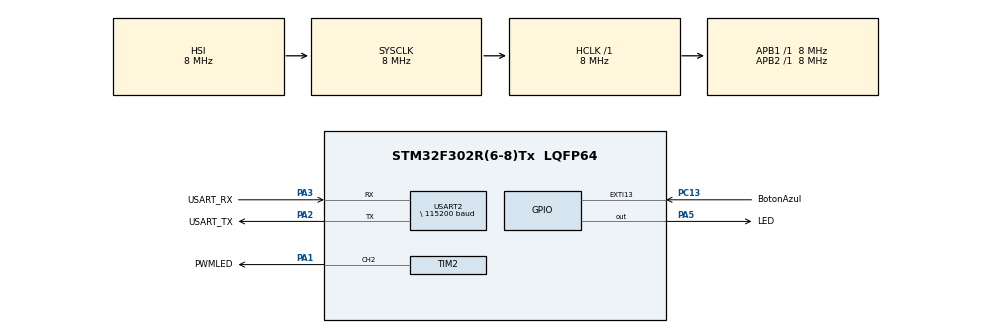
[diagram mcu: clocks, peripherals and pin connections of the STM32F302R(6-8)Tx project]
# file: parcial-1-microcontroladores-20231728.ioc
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Mcu.Family=STM32F3
Mcu.Name=STM32F302R(6-8)Tx
Mcu.Package=LQFP64
NVIC.EXTI15_10_IRQn=true\:0\:0\:false\:false\:true\:true\:true\:true
NVIC.PriorityGroup=NVIC_PRIORITYGROUP_0
NVIC.TIM6_DAC_IRQn=true\:0\:0\:false\:false\:true\:true\:true\:true
NVIC.USART2_IRQn=true\:0\:0\:false\:false\:true\:true\:true\:true
PA1.GPIO_Label=PWMLED
PA1.Signal=S_TIM2_CH2
PA13.GPIO_Label=TMS
PA13.Mode=Serial_Wire
PA13.Signal=SYS_JTMS-SWDIO
PA14.GPIO_Label=TCK
PA14.Mode=Serial_Wire
PA14.Signal=SYS_JTCK-SWCLK
PA2.GPIO_Label=USART_TX
PA2.GPIO_Mode=GPIO_MODE_AF_PP
PA2.GPIO_PuPd=GPIO_NOPULL
PA2.GPIO_Speed=GPIO_SPEED_FREQ_LOW
PA2.Mode=Asynchronous
PA2.Signal=USART2_TX
PA3.GPIO_Label=USART_RX
PA3.GPIO_Mode=GPIO_MODE_AF_PP
PA3.GPIO_PuPd=GPIO_NOPULL
PA3.GPIO_Speed=GPIO_SPEED_FREQ_LOW
PA3.Mode=Asynchronous
PA3.Signal=USART2_RX
PA5.GPIO_Label=LED
PA5.Signal=GPIO_Output
PB3.GPIO_Label=SWO
PB3.Mode=Trace_Asynchronous_SW
PB3.Signal=SYS_JTDO-TRACESWO
PC13.GPIO_Label=BotonAzul
PC13.GPIO_ModeDefaultEXTI=GPIO_MODE_IT_RISING_FALLING
PC13.Signal=GPXTI13
PC14\ -\ OSC32_IN.Mode=LSE-External-Oscillator
PC14\ -\ OSC32_IN.Signal=RCC_OSC32_IN
PC15\ -\ OSC32_OUT.Mode=LSE-External-Oscillator
PC15\ -\ OSC32_OUT.Signal=RCC_OSC32_OUT
PF0-OSC_IN.Mode=HSE-External-Clock-Source
PF0-OSC_IN.Signal=RCC_OSC_IN
PF1-OSC_OUT.Signal=RCC_OSC_OUT
ProjectManager.HeapSize=0x200
ProjectManager.StackSize=0x400
ProjectManager.TargetToolchain=CMake
RCC.AHBFreq_Value=8000000
RCC.APB1Freq_Value=8000000
RCC.APB1TimFreq_Value=8000000
RCC.APB2Freq_Value=8000000
RCC.APB2TimFreq_Value=8000000
RCC.CortexFreq_Value=8000000
RCC.HCLKFreq_Value=8000000
RCC.HSE_VALUE=8000000
RCC.HSI_VALUE=8000000
RCC.PLLM=8
RCC.PLLMUL=RCC_PLL_MUL16
RCC.PLLN=336
RCC.PLLP=RCC_PLLP_DIV4
RCC.PLLQ=7
RCC.RCC_PLLsource_Clock_Source_FROM_HSE=RCC_HSE_PREDIV_DIV2
RCC.SYSCLKFreq_VALUE=8000000
RCC.USBFreq_Value=64000000
SH.S_TIM2_CH2.0=TIM2_CH2,PWM Generation2 CH2
TIM2.Channel-PWM\ Generation2\ CH2=TIM_CHANNEL_2
TIM2.Period=1000-1
TIM2.Prescaler=8-1
TIM2.Pulse-PWM\ Generation2\ CH2=250
TIM6.Period=99
TIM6.Prescaler=79
USART2.BaudRate=\ 115200
USART2.VirtualMode-Asynchronous=VM_ASYNC
VP_TIM2_VS_ClockSourceINT.Mode=Internal
VP_TIM6_VS_ClockSourceINT.Mode=Enable_Timer
board=NUCLEO-F302R8

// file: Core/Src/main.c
/* USER CODE BEGIN Header */
/**
  ******************************************************************************
  * @file           : main.c
  * @brief          : Main program body
  ******************************************************************************
  * @attention
  *
  * Copyright (c) 2026 STMicroelectronics.
  * All rights reserved.
  *
  * This software is licensed under terms that can be found in the LICENSE file
  * in the root directory of this software component.
  * If no LICENSE file comes with this software, it is provided AS-IS.
  *
  ******************************************************************************
  */
  // LINK DE VIDEO: https://youtu.be/MsYkq0kdA_k
/* USER CODE END Header */
#include "main.h"
#include <stdio.h>
#include <string.h>

/* USER CODE BEGIN PD */
#define UART_RX_BUFFER_SIZE 256U
#define UART_RX_BUFFER_MASK (UART_RX_BUFFER_SIZE - 1U)
#define UART_LINE_MAX_LENGTH 63U
#define UART_TX_BUFFER_SIZE 512U
#define UART_TX_BUFFER_MASK (UART_TX_BUFFER_SIZE - 1U)

/* USER CODE END PD */

TIM_HandleTypeDef htim2;
TIM_HandleTypeDef htim6;

UART_HandleTypeDef huart2;

/* USER CODE BEGIN PV */

/* Estado del PWM y duty manual. */
uint16_t dutyCycle = 10U;
uint16_t dutyMin = 10U;
uint16_t dutyMax = 90U;
static uint32_t fixedPulse = 0U;
static uint16_t manualDutyPercent = 0U;
static uint8_t rampIncreasing = 1U;
static uint8_t rampMode = 0U;
static uint8_t paused = 0U;

/* Reloj de aplicación y plazos de rampa/LED. */
static volatile uint32_t appTickMs = 0U;
static uint32_t lastDutyUpdateMs = 0U;
static uint32_t lastAutoLedToggleMs = 0U;
static uint32_t lastPauseLedToggleMs = 0U;

/* Antirrebote, duración y estadísticas del pulsador. */
static volatile uint8_t buttonEdgePending = 0U;
static GPIO_PinState buttonStableState = GPIO_PIN_SET;
static GPIO_PinState buttonCandidateState = GPIO_PIN_SET;
static uint8_t buttonCandidateActive = 0U;
static uint32_t buttonCandidateSinceMs = 0U;
static uint32_t buttonPressStartMs = 0U;
static uint8_t buttonLongPressHandled = 0U;
static uint32_t acceptedShortPresses = 0U;
static uint32_t acceptedLongPresses = 0U;

/* Recepción UART, búfer circular y armado de líneas. */
static uint8_t uartRxByte = 0U;
static uint8_t uartRxBuffer[UART_RX_BUFFER_SIZE];
static volatile uint16_t uartRxHead = 0U;
static volatile uint16_t uartRxTail = 0U;
static volatile uint8_t uartRxOverflowPending = 0U;
static volatile uint32_t uartRxOverflowCount = 0U;
static volatile uint32_t uartRxErrorCount = 0U;
static char uartLineBuffer[UART_LINE_MAX_LENGTH + 1U];
static char uartLastLine[UART_LINE_MAX_LENGTH + 1U];
static uint8_t uartLineLength = 0U;
static uint8_t uartLineDiscarding = 0U;
static uint8_t uartSkipLfAfterCr = 0U;
static uint32_t uartCompletedLineCount = 0U;
static uint32_t uartLineOverflowCount = 0U;

/* Frecuencia actual y control de telemetría. */
static uint16_t pwmFrequencyHz = 1000U;
static uint8_t telemetryEnabled = 0U;
static uint32_t lastTelemetryMs = 0U;

/* Cola UART de transmisión no bloqueante y errores TX. */
static char uartTxBuffer[UART_TX_BUFFER_SIZE];
static volatile uint16_t uartTxHead = 0U;
static volatile uint16_t uartTxTail = 0U;
static volatile uint8_t uartTxBusy = 0U;
static uint8_t uartTxByteInFlight = 0U;
static volatile uint32_t uartTxOverflowCount = 0U;
static volatile uint32_t uartTxErrorCount = 0U;

/* USER CODE END PV */

void SystemClock_Config(void);
static void MX_GPIO_Init(void);
static void MX_USART2_UART_Init(void);
static void MX_TIM2_Init(void);
static void MX_TIM6_Init(void);
/* USER CODE BEGIN PFP */
static void Button_Process(uint32_t now);
static uint8_t Button_TakeEdgePending(void);
static uint32_t PWM_DutyToPulse(uint16_t dutyPercent);
static void PWM_ApplyCurrentMode(void);
static void Button_HandleShortPress(uint32_t now);
static void Button_HandleLongPress(uint32_t now);
static uint32_t PWM_GetCounterClockHz(void);
static uint8_t PWM_SetFrequency(uint16_t frequencyHz);
static void Application_SetPaused(uint8_t shouldPause, uint32_t now);
static uint8_t UART_ParseUnsigned(const char *text, uint32_t *value);
static uint8_t UART_TakeRxByte(uint8_t *byte);
static void UART_ProcessRx(void);
static uint8_t UART_QueueText(const char *text);
static void UART_TxStartNext(void);
static void UART_ProcessCommand(char *line);
static void UART_QueueStatus(const char *prefix);
static void UART_ProcessTelemetry(uint32_t now);

/* USER CODE END PFP */

/* USER CODE BEGIN 0 */
/* Convierte un duty porcentual al valor de comparación de TIM2. */
static uint32_t PWM_DutyToPulse(uint16_t dutyPercent)
{
  return ((htim2.Init.Period + 1U) * dutyPercent) / 100U;
}

/* Calcula el reloj del contador de TIM2 desde PCLK1 y el prescaler real. */
static uint32_t PWM_GetCounterClockHz(void)
{
  RCC_ClkInitTypeDef clockConfig = {0};
  uint32_t flashLatency = 0U;
  HAL_RCC_GetClockConfig(&clockConfig, &flashLatency);

  uint32_t timerClockHz = HAL_RCC_GetPCLK1Freq();
  if (clockConfig.APB1CLKDivider != RCC_HCLK_DIV1)
  {
    timerClockHz *= 2U;
  }

  return timerClockHz / (htim2.Init.Prescaler + 1U);
}

/* Cambia la frecuencia PWM sin modificar la base de tiempo de TIM6. */
static uint8_t PWM_SetFrequency(uint16_t frequencyHz)
{
  uint32_t counterClockHz = PWM_GetCounterClockHz();
  if ((frequencyHz == 0U) || ((counterClockHz % frequencyHz) != 0U))
  {
    return 0U;
  }

  uint32_t periodCounts = counterClockHz / frequencyHz;
  if (periodCounts == 0U)
  {
    return 0U;
  }

  uint32_t newPeriod = periodCounts - 1U;
  __HAL_TIM_SET_COUNTER(&htim2, 0U);
  htim2.Init.Period = newPeriod;
  __HAL_TIM_SET_AUTORELOAD(&htim2, newPeriod);
  fixedPulse = PWM_DutyToPulse(manualDutyPercent);
  pwmFrequencyHz = frequencyHz;
  PWM_ApplyCurrentMode();
  return 1U;
}

/* Extrae un byte pendiente del búfer circular UART en contexto de main. */
static uint8_t UART_TakeRxByte(uint8_t *byte)
{
  uint16_t tail = uartRxTail;
  if (tail == uartRxHead)
  {
    return 0U;
  }

  *byte = uartRxBuffer[tail];
  uartRxTail = (tail + 1U) & UART_RX_BUFFER_MASK;
  return 1U;
}

/* Inicia la transmisión del siguiente byte pendiente sin esperar a que termine. */
static void UART_TxStartNext(void)
{
  uint32_t interruptMask = __get_PRIMASK();
  __disable_irq();

  if ((uartTxBusy != 0U) || (uartTxTail == uartTxHead))
  {
    __set_PRIMASK(interruptMask);
    return;
  }

  uartTxByteInFlight = (uint8_t)uartTxBuffer[uartTxTail];
  uartTxTail = (uartTxTail + 1U) & UART_TX_BUFFER_MASK;
  uartTxBusy = 1U;
  __set_PRIMASK(interruptMask);

  if (HAL_UART_Transmit_IT(&huart2, &uartTxByteInFlight, 1U) != HAL_OK)
  {
    interruptMask = __get_PRIMASK();
    __disable_irq();
    uartTxTail = (uartTxTail - 1U) & UART_TX_BUFFER_MASK;
    uartTxBusy = 0U;
    uartTxErrorCount++;
    __set_PRIMASK(interruptMask);
  }
}

/* Agrega una cadena completa a la cola TX o registra si no hay espacio. */
static uint8_t UART_QueueText(const char *text)
{
  size_t length = strlen(text);
  uint32_t interruptMask = __get_PRIMASK();
  __disable_irq();

  uint16_t used = (uartTxHead - uartTxTail) & UART_TX_BUFFER_MASK;
  uint16_t freeSpace = UART_TX_BUFFER_MASK - used;
  if (length > freeSpace)
  {
    uartTxOverflowCount++;
    __set_PRIMASK(interruptMask);
    return 0U;
  }

  uint16_t head = uartTxHead;
  for (size_t index = 0U; index < length; index++)
  {
    uartTxBuffer[head] = text[index];
    head = (head + 1U) & UART_TX_BUFFER_MASK;
  }
  uartTxHead = head;
  __set_PRIMASK(interruptMask);

  UART_TxStartNext();
  return 1U;
}

/* Formatea y encola el estado actual para STATUS o STREAM. */
static void UART_QueueStatus(const char *prefix)
{
  const char *mode = (paused != 0U) ? "PAUSA" :
                     (rampMode != 0U) ? "AUTO" : "MANUAL";
  uint32_t appliedDuty = (paused != 0U) ? 0U :
                         (rampMode != 0U) ? dutyCycle : manualDutyPercent;
  uint32_t errorCount = uartRxOverflowCount + uartRxErrorCount +
                        uartLineOverflowCount + uartTxOverflowCount +
                        uartTxErrorCount;
  char response[192];
  int responseLength = snprintf(response, sizeof(response),
                                "%s MODE=%s FREQ=%u DUTY=%lu MANUAL=%u "
                                "UPTIME_MS=%lu SHORT=%lu LONG=%lu ERR=%lu\r\n",
                                prefix, mode, (unsigned int)pwmFrequencyHz,
                                (unsigned long)appliedDuty,
                                (unsigned int)manualDutyPercent,
                                (unsigned long)appTickMs,
                                (unsigned long)acceptedShortPresses,
                                (unsigned long)acceptedLongPresses,
                                (unsigned long)errorCount);
  if ((responseLength > 0) && ((size_t)responseLength < sizeof(response)))
  {
    UART_QueueText(response);
  }
  else
  {
    uartTxErrorCount++;
  }
}

/* Convierte dígitos decimales estrictos a entero y detecta desbordamiento. */
static uint8_t UART_ParseUnsigned(const char *text, uint32_t *value)
{
  if (*text == '\0')
  {
    return 0U;
  }

  uint32_t parsed = 0U;
  while (*text != '\0')
  {
    if ((*text < '0') || (*text > '9'))
    {
      return 0U;
    }

    uint32_t digit = (uint32_t)(*text - '0');
    if (parsed > ((UINT32_MAX - digit) / 10U))
    {
      return 2U;
    }
    parsed = (parsed * 10U) + digit;
    text++;
  }

  *value = parsed;
  return 1U;
}

/* Valida y ejecuta una orden completa recibida por USART2. */
static void UART_ProcessCommand(char *line)
{
  char *command = line;
  while (*command == ' ')
  {
    command++;
  }

  size_t length = strlen(command);
  while ((length > 0U) && (command[length - 1U] == ' '))
  {
    command[--length] = '\0';
  }

  if (length == 0U)
  {
    return;
  }

  char *argument = command;
  while ((*argument != '\0') && (*argument != ' '))
  {
    argument++;
  }
  if (*argument != '\0')
  {
    *argument++ = '\0';
    while (*argument == ' ')
    {
      argument++;
    }
  }

  if ((strcmp(command, "HELP") == 0) ||
      (strcmp(command, "STATUS") == 0))
  {
    if (*argument != '\0')
    {
      UART_QueueText("ERR ARG\r\n");
      return;
    }

    if (strcmp(command, "HELP") == 0)
    {
      UART_QueueText("OK HELP\r\nHELP\r\nSTATUS\r\nDUTY n\r\nFREQ n\r\n"
                     "PAUSE\r\nRESUME\r\n");
      return;
    }

    UART_QueueStatus("OK");
    return;
  }

  if (strcmp(command, "MODE") == 0)
  {
    if (paused != 0U)
    {
      UART_QueueText("ERR STATE\r\n");
      return;
    }
    if (strcmp(argument, "MANUAL") == 0)
    {
      rampMode = 0U;
      lastDutyUpdateMs = appTickMs;
      HAL_GPIO_WritePin(LED_GPIO_Port, LED_Pin, GPIO_PIN_SET);
      PWM_ApplyCurrentMode();
      UART_QueueText("OK\r\n");
      return;
    }
    if (strcmp(argument, "AUTO") == 0)
    {
      rampMode = 1U;
      dutyCycle = dutyMin;
      rampIncreasing = 1U;
      lastDutyUpdateMs = appTickMs;
      lastAutoLedToggleMs = appTickMs;
      HAL_GPIO_WritePin(LED_GPIO_Port, LED_Pin, GPIO_PIN_SET);
      PWM_ApplyCurrentMode();
      UART_QueueText("OK\r\n");
      return;
    }
    UART_QueueText("ERR ARG\r\n");
    return;
  }

  if ((strcmp(command, "DUTY") == 0) || (strcmp(command, "FREQ") == 0))
  {
    if (paused != 0U)
    {
      UART_QueueText("ERR STATE\r\n");
      return;
    }
    if ((strcmp(command, "DUTY") == 0) && (rampMode != 0U))
    {
      UART_QueueText("ERR STATE\r\n");
      return;
    }

    uint32_t value = 0U;
    uint8_t parseResult = UART_ParseUnsigned(argument, &value);
    if (parseResult == 0U)
    {
      UART_QueueText("ERR ARG\r\n");
      return;
    }
    if (parseResult == 2U)
    {
      UART_QueueText("ERR RANGE\r\n");
      return;
    }

    if (strcmp(command, "DUTY") == 0)
    {
      if (value > 100U)
      {
        UART_QueueText("ERR RANGE\r\n");
        return;
      }

      manualDutyPercent = (uint16_t)value;
      fixedPulse = PWM_DutyToPulse(manualDutyPercent);
      PWM_ApplyCurrentMode();
      UART_QueueText("OK\r\n");
      return;
    }

    if ((value != 500U) && (value != 1000U) && (value != 2000U))
    {
      UART_QueueText("ERR RANGE\r\n");
      return;
    }
    if (PWM_SetFrequency((uint16_t)value) == 0U)
    {
      UART_QueueText("ERR RANGE\r\n");
      return;
    }
    UART_QueueText("OK\r\n");
    return;
  }

  if ((strcmp(command, "PAUSE") == 0) ||
      (strcmp(command, "RESUME") == 0))
  {
    if (*argument != '\0')
    {
      UART_QueueText("ERR ARG\r\n");
      return;
    }

    if (strcmp(command, "PAUSE") == 0)
    {
      Application_SetPaused(1U, appTickMs);
      UART_QueueText("OK\r\n");
      return;
    }

    if (paused == 0U)
    {
      UART_QueueText("ERR STATE\r\n");
      return;
    }
    Application_SetPaused(0U, appTickMs);
    UART_QueueText("OK\r\n");
    return;
  }

  if (strcmp(command, "STREAM") == 0)
  {
    if (strcmp(argument, "ON") == 0)
    {
      telemetryEnabled = 1U;
      lastTelemetryMs = appTickMs;
      UART_QueueText("OK\r\n");
      return;
    }
    if (strcmp(argument, "OFF") == 0)
    {
      telemetryEnabled = 0U;
      UART_QueueText("OK\r\n");
      return;
    }
    UART_QueueText("ERR ARG\r\n");
    return;
  }

  UART_QueueText("ERR COMMAND\r\n");
}

/* Emite estado cada segundo; difiere la salida mientras se escribe una línea. */
static void UART_ProcessTelemetry(uint32_t now)
{
  if (telemetryEnabled == 0U)
  {
    return;
  }

  if ((uartLineLength != 0U) || (uartLineDiscarding != 0U))
  {
    lastTelemetryMs = now;
    return;
  }

  if ((uint32_t)(now - lastTelemetryMs) >= 1000U)
  {
    lastTelemetryMs = now;
    UART_QueueStatus("STREAM");
  }
}

/* Consume bytes RX, arma líneas CR/LF y entrega líneas completas al parser. */
static void UART_ProcessRx(void)
{
  uint32_t interruptMask = __get_PRIMASK();
  __disable_irq();
  uint8_t overflowPending = uartRxOverflowPending;
  uartRxOverflowPending = 0U;
  __set_PRIMASK(interruptMask);

  if (overflowPending != 0U)
  {
    uartLineLength = 0U;
    uartLineDiscarding = 1U;
    uartRxErrorCount++;
  }

  uint8_t byte;
  while (UART_TakeRxByte(&byte) != 0U)
  {
    if ((uartSkipLfAfterCr != 0U) && (byte == '\n'))
    {
      uartSkipLfAfterCr = 0U;
      continue;
    }
    uartSkipLfAfterCr = 0U;

    if ((byte == '\r') || (byte == '\n'))
    {
      if (byte == '\r')
      {
        uartSkipLfAfterCr = 1U;
      }

      if (uartLineDiscarding != 0U)
      {
        uartLineDiscarding = 0U;
        UART_QueueText("ERR OVERFLOW\r\n");
      }
      else
      {
        uartLineBuffer[uartLineLength] = '\0';
        for (uint8_t index = 0U; index <= uartLineLength; index++)
        {
          uartLastLine[index] = uartLineBuffer[index];
        }
        uartCompletedLineCount++;
        UART_ProcessCommand(uartLineBuffer);
      }
      uartLineLength = 0U;
      continue;
    }

    if (uartLineDiscarding == 0U)
    {
      if (uartLineLength < UART_LINE_MAX_LENGTH)
      {
        uartLineBuffer[uartLineLength++] = (char)byte;
      }
      else
      {
        uartLineLength = 0U;
        uartLineDiscarding = 1U;
        uartLineOverflowCount++;
      }
    }
  }
}

/* Toma y limpia de forma atómica el aviso de flanco creado por la ISR. */
static uint8_t Button_TakeEdgePending(void)
{
  uint32_t interruptMask = __get_PRIMASK();
  __disable_irq();
  uint8_t edgePending = buttonEdgePending;
  buttonEdgePending = 0U;
  __set_PRIMASK(interruptMask);
  return edgePending;
}

/* Aplica al CCR el duty que corresponde al modo actual o a PAUSA. */
static void PWM_ApplyCurrentMode(void)
{
  if (paused != 0U)
  {
    __HAL_TIM_SET_COMPARE(&htim2, TIM_CHANNEL_2, 0U);
  }
  else if (rampMode != 0U)
  {
    __HAL_TIM_SET_COMPARE(&htim2, TIM_CHANNEL_2,
                          PWM_DutyToPulse(dutyCycle));
  }
  else
  {
    __HAL_TIM_SET_COMPARE(&htim2, TIM_CHANNEL_2, fixedPulse);
  }
}

/* Entra o sale de PAUSA preservando el estado previo de la rampa. */
static void Application_SetPaused(uint8_t shouldPause, uint32_t now)
{
  if (paused == shouldPause)
  {
    return;
  }

  paused = shouldPause;
  lastDutyUpdateMs = now;
  if (paused != 0U)
  {
    lastPauseLedToggleMs = now;
    HAL_GPIO_WritePin(LED_GPIO_Port, LED_Pin, GPIO_PIN_RESET);
  }
  else
  {
    HAL_GPIO_WritePin(LED_GPIO_Port, LED_Pin, GPIO_PIN_SET);
    lastAutoLedToggleMs = now;
  }

  PWM_ApplyCurrentMode();
}

/* Alterna MANUAL/AUTO para una pulsación corta aceptada. */
static void Button_HandleShortPress(uint32_t now)
{
  if (paused != 0U)
  {
    return;
  }

  acceptedShortPresses++;
  if (rampMode == 0U)
  {
    rampMode = 1U;
    dutyCycle = dutyMin;
    rampIncreasing = 1U;
    HAL_GPIO_WritePin(LED_GPIO_Port, LED_Pin, GPIO_PIN_SET);
    lastAutoLedToggleMs = now;
  }
  else
  {
    rampMode = 0U;
    HAL_GPIO_WritePin(LED_GPIO_Port, LED_Pin, GPIO_PIN_SET);
  }

  lastDutyUpdateMs = now;
  PWM_ApplyCurrentMode();
}

/* Cuenta y usa una pulsación larga para alternar PAUSA. */
static void Button_HandleLongPress(uint32_t now)
{
  acceptedLongPresses++;
  Application_SetPaused((paused == 0U) ? 1U : 0U, now);
}

/* Valida 30 ms estables, clasifica pulsaciones y actualiza LED de estado. */
static void Button_Process(uint32_t now)
{
  GPIO_PinState pinState = HAL_GPIO_ReadPin(BotonAzul_GPIO_Port, BotonAzul_Pin);

  if (Button_TakeEdgePending() != 0U)
  {
    buttonCandidateState = pinState;
    buttonCandidateSinceMs = now;
    buttonCandidateActive = 1U;
  }

  if (buttonCandidateActive != 0U)
  {
    if (pinState != buttonCandidateState)
    {
      buttonCandidateState = pinState;
      buttonCandidateSinceMs = now;
    }
    else if ((uint32_t)(now - buttonCandidateSinceMs) >= 30U)
    {
      buttonCandidateActive = 0U;
      if (buttonCandidateState != buttonStableState)
      {
        buttonStableState = buttonCandidateState;
        if (buttonStableState == GPIO_PIN_RESET)
        {
          buttonPressStartMs = now;
          buttonLongPressHandled = 0U;
        }
        else if (buttonLongPressHandled == 0U)
        {
          uint32_t pressDuration = (uint32_t)(now - buttonPressStartMs);
          if ((pressDuration >= 30U) && (pressDuration < 1500U))
          {
            Button_HandleShortPress(now);
          }
        }
      }
    }
  }

  if ((buttonStableState == GPIO_PIN_RESET) &&
      (buttonLongPressHandled == 0U) &&
      ((uint32_t)(now - buttonPressStartMs) >= 1500U))
  {
    buttonLongPressHandled = 1U;
    Button_HandleLongPress(now);
  }

  if ((paused != 0U) &&
      ((uint32_t)(now - lastPauseLedToggleMs) >= 125U))
  {
    lastPauseLedToggleMs = now;
    HAL_GPIO_TogglePin(LED_GPIO_Port, LED_Pin);
  }
  else if ((paused == 0U) && (rampMode != 0U) &&
           ((uint32_t)(now - lastAutoLedToggleMs) >= 500U))
  {
    lastAutoLedToggleMs = now;
    HAL_GPIO_TogglePin(LED_GPIO_Port, LED_Pin);
  }
}

/* La ISR HAL llama esto; solo se registra el flanco del botón azul. */
void HAL_GPIO_EXTI_Callback(uint16_t GPIO_Pin)
{
  if (GPIO_Pin == BotonAzul_Pin)
  {
    buttonEdgePending = 1U;
  }
}

/* Guarda el byte recibido y rearma RX; no interpreta comandos en la ISR. */
void HAL_UART_RxCpltCallback(UART_HandleTypeDef *huart)
{
  if (huart->Instance == USART2)
  {
    uint16_t nextHead = (uartRxHead + 1U) & UART_RX_BUFFER_MASK;
    if (nextHead == uartRxTail)
    {
      uartRxOverflowCount++;
      uartRxOverflowPending = 1U;
    }
    else
    {
      uartRxBuffer[uartRxHead] = uartRxByte;
      uartRxHead = nextHead;
    }

    if (HAL_UART_Receive_IT(huart, &uartRxByte, 1U) != HAL_OK)
    {
      uartRxErrorCount++;
    }
  }
}

/* Cuenta errores UART y solicita descartar la línea afectada. */
void HAL_UART_ErrorCallback(UART_HandleTypeDef *huart)
{
  if (huart->Instance == USART2)
  {
    uartRxErrorCount++;
    uartRxOverflowPending = 1U;
    if (HAL_UART_Receive_IT(huart, &uartRxByte, 1U) != HAL_OK)
    {
      uartRxErrorCount++;
    }
  }
}

/* Al terminar un byte TX, inicia el siguiente byte de la cola. */
void HAL_UART_TxCpltCallback(UART_HandleTypeDef *huart)
{
  if (huart->Instance == USART2)
  {
    uartTxBusy = 0U;
    UART_TxStartNext();
  }
}

/* Mantiene el contador de aplicación de 1 ms generado por TIM6. */
void HAL_TIM_PeriodElapsedCallback(TIM_HandleTypeDef *htim)
{
  if (htim->Instance == TIM6)
  {
    appTickMs++;
  }
}

/* USER CODE END 0 */

/* Inicializa periféricos y ejecuta los servicios cooperativos del programa. */
int main(void)
{

  /* MCU Configuration--------------------------------------------------------*/

  /* Reset of all peripherals, Initializes the Flash interface and the Systick. */
  HAL_Init();

  /* Configure the system clock */
  SystemClock_Config();

  /* Initialize all configured peripherals */
  MX_GPIO_Init();
  MX_USART2_UART_Init();
  MX_TIM2_Init();
  MX_TIM6_Init();
  /* USER CODE BEGIN 2 */
  uint8_t testMessage[] = "USART2 lista\r\n";
  HAL_NVIC_SetPriority(USART2_IRQn, 1, 0);
  HAL_NVIC_EnableIRQ(USART2_IRQn);
  if (HAL_UART_Receive_IT(&huart2, &uartRxByte, 1U) != HAL_OK)
  {
    Error_Handler();
  }
  HAL_UART_Transmit(&huart2, testMessage, sizeof(testMessage) - 1U, 100U);

  buttonStableState = HAL_GPIO_ReadPin(BotonAzul_GPIO_Port, BotonAzul_Pin);
  buttonCandidateState = buttonStableState;
  if (buttonStableState == GPIO_PIN_RESET)
  {
    buttonPressStartMs = appTickMs;
  }
  fixedPulse = __HAL_TIM_GET_COMPARE(&htim2, TIM_CHANNEL_2);
  manualDutyPercent = (uint16_t)((fixedPulse * 100U) /
                                 (htim2.Init.Period + 1U));
  lastDutyUpdateMs = appTickMs;
  HAL_GPIO_WritePin(LED_GPIO_Port, LED_Pin, GPIO_PIN_SET);
  if (HAL_TIM_PWM_Start(&htim2, TIM_CHANNEL_2) != HAL_OK)
  {
    Error_Handler();
  }
  if (HAL_TIM_Base_Start_IT(&htim6) != HAL_OK)
  {
    Error_Handler();
  }

  /* USER CODE END 2 */

  /* Infinite loop */
  /* USER CODE BEGIN WHILE */
  while (1)
  {
    uint32_t now = appTickMs;
    UART_ProcessRx();
    UART_TxStartNext();
    UART_ProcessTelemetry(now);
    Button_Process(now);

    while ((rampMode != 0U) && (paused == 0U) &&
           ((uint32_t)(now - lastDutyUpdateMs) >= 20U))
    {
      lastDutyUpdateMs += 20U;

      if (rampIncreasing != 0U)
      {
        if (dutyCycle < dutyMax)
        {
          dutyCycle++;
        }
        else
        {
          rampIncreasing = 0U;
          dutyCycle--;
        }
      }
      else if (dutyCycle > dutyMin)
      {
        dutyCycle--;
      }
      else
      {
        rampIncreasing = 1U;
        dutyCycle++;
      }

      PWM_ApplyCurrentMode();
      now = appTickMs;
    }
    /* USER CODE END WHILE */

  }
}

void SystemClock_Config(void)
{
  RCC_OscInitTypeDef RCC_OscInitStruct = {0};
  RCC_ClkInitTypeDef RCC_ClkInitStruct = {0};

  /** Initializes the RCC Oscillators according to the specified parameters
  * in the RCC_OscInitTypeDef structure.
  */
  RCC_OscInitStruct.OscillatorType = RCC_OSCILLATORTYPE_HSI;
  RCC_OscInitStruct.HSIState = RCC_HSI_ON;
  RCC_OscInitStruct.HSICalibrationValue = RCC_HSICALIBRATION_DEFAULT;
  RCC_OscInitStruct.PLL.PLLState = RCC_PLL_NONE;
  if (HAL_RCC_OscConfig(&RCC_OscInitStruct) != HAL_OK)
  {
    Error_Handler();
  }

  /** Initializes the CPU, AHB and APB buses clocks
  */
  RCC_ClkInitStruct.ClockType = RCC_CLOCKTYPE_HCLK|RCC_CLOCKTYPE_SYSCLK
                              |RCC_CLOCKTYPE_PCLK1|RCC_CLOCKTYPE_PCLK2;
  RCC_ClkInitStruct.SYSCLKSource = RCC_SYSCLKSOURCE_HSI;
  RCC_ClkInitStruct.AHBCLKDivider = RCC_SYSCLK_DIV1;
  RCC_ClkInitStruct.APB1CLKDivider = RCC_HCLK_DIV1;
  RCC_ClkInitStruct.APB2CLKDivider = RCC_HCLK_DIV1;

  if (HAL_RCC_ClockConfig(&RCC_ClkInitStruct, FLASH_LATENCY_0) != HAL_OK)
  {
    Error_Handler();
  }
}

static void MX_TIM2_Init(void)
{
  TIM_ClockConfigTypeDef sClockSourceConfig = {0};
  TIM_MasterConfigTypeDef sMasterConfig = {0};
  TIM_OC_InitTypeDef sConfigOC = {0};

  htim2.Instance = TIM2;
  htim2.Init.Prescaler = 8U - 1U;
  htim2.Init.CounterMode = TIM_COUNTERMODE_UP;
  htim2.Init.Period = 1000U - 1U;
  htim2.Init.ClockDivision = TIM_CLOCKDIVISION_DIV1;
  htim2.Init.AutoReloadPreload = TIM_AUTORELOAD_PRELOAD_DISABLE;
  if (HAL_TIM_Base_Init(&htim2) != HAL_OK)
  {
    Error_Handler();
  }

  sClockSourceConfig.ClockSource = TIM_CLOCKSOURCE_INTERNAL;
  if (HAL_TIM_ConfigClockSource(&htim2, &sClockSourceConfig) != HAL_OK)
  {
    Error_Handler();
  }
  if (HAL_TIM_PWM_Init(&htim2) != HAL_OK)
  {
    Error_Handler();
  }

  sMasterConfig.MasterOutputTrigger = TIM_TRGO_RESET;
  sMasterConfig.MasterSlaveMode = TIM_MASTERSLAVEMODE_DISABLE;
  if (HAL_TIMEx_MasterConfigSynchronization(&htim2, &sMasterConfig) != HAL_OK)
  {
    Error_Handler();
  }

  sConfigOC.OCMode = TIM_OCMODE_PWM1;
  sConfigOC.Pulse = 250U;
  sConfigOC.OCPolarity = TIM_OCPOLARITY_HIGH;
  sConfigOC.OCFastMode = TIM_OCFAST_DISABLE;
  if (HAL_TIM_PWM_ConfigChannel(&htim2, &sConfigOC, TIM_CHANNEL_2) != HAL_OK)
  {
    Error_Handler();
  }
  HAL_TIM_MspPostInit(&htim2);
}

static void MX_TIM6_Init(void)
{
  TIM_MasterConfigTypeDef sMasterConfig = {0};

  htim6.Instance = TIM6;
  htim6.Init.Prescaler = 79U;
  htim6.Init.CounterMode = TIM_COUNTERMODE_UP;
  htim6.Init.Period = 99U;
  htim6.Init.AutoReloadPreload = TIM_AUTORELOAD_PRELOAD_DISABLE;
  if (HAL_TIM_Base_Init(&htim6) != HAL_OK)
  {
    Error_Handler();
  }

  sMasterConfig.MasterOutputTrigger = TIM_TRGO_RESET;
  sMasterConfig.MasterSlaveMode = TIM_MASTERSLAVEMODE_DISABLE;
  if (HAL_TIMEx_MasterConfigSynchronization(&htim6, &sMasterConfig) != HAL_OK)
  {
    Error_Handler();
  }
}

static void MX_USART2_UART_Init(void)
{

  huart2.Instance = USART2;
  huart2.Init.BaudRate = 115200;
  huart2.Init.WordLength = UART_WORDLENGTH_8B;
  huart2.Init.StopBits = UART_STOPBITS_1;
  huart2.Init.Parity = UART_PARITY_NONE;
  huart2.Init.Mode = UART_MODE_TX_RX;
  huart2.Init.HwFlowCtl = UART_HWCONTROL_NONE;
  huart2.Init.OverSampling = UART_OVERSAMPLING_16;
  huart2.Init.OneBitSampling = UART_ONE_BIT_SAMPLE_DISABLE;
  huart2.AdvancedInit.AdvFeatureInit = UART_ADVFEATURE_NO_INIT;
  if (HAL_UART_Init(&huart2) != HAL_OK)
  {
    Error_Handler();
  }

}

static void MX_GPIO_Init(void)
{
  GPIO_InitTypeDef GPIO_InitStruct = {0};

  /* GPIO Ports Clock Enable */
  __HAL_RCC_GPIOC_CLK_ENABLE();
  __HAL_RCC_GPIOF_CLK_ENABLE();
  __HAL_RCC_GPIOA_CLK_ENABLE();
  __HAL_RCC_GPIOB_CLK_ENABLE();

  /*Configure GPIO pin Output Level */
  HAL_GPIO_WritePin(LED_GPIO_Port, LED_Pin, GPIO_PIN_RESET);

  /*Configure GPIO pin : BotonAzul_Pin */
  GPIO_InitStruct.Pin = BotonAzul_Pin;
  GPIO_InitStruct.Mode = GPIO_MODE_IT_RISING_FALLING;
  GPIO_InitStruct.Pull = GPIO_NOPULL;
  HAL_GPIO_Init(BotonAzul_GPIO_Port, &GPIO_InitStruct);
  HAL_NVIC_SetPriority(EXTI15_10_IRQn, 0, 0);
  HAL_NVIC_EnableIRQ(EXTI15_10_IRQn);

  /*Configure GPIO pin : LED_Pin */
  GPIO_InitStruct.Pin = LED_Pin;
  GPIO_InitStruct.Mode = GPIO_MODE_OUTPUT_PP;
  GPIO_InitStruct.Pull = GPIO_NOPULL;
  GPIO_InitStruct.Speed = GPIO_SPEED_FREQ_LOW;
  HAL_GPIO_Init(LED_GPIO_Port, &GPIO_InitStruct);

}

void Error_Handler(void)
{
  __disable_irq();
  while (1)
  {
  }
}
